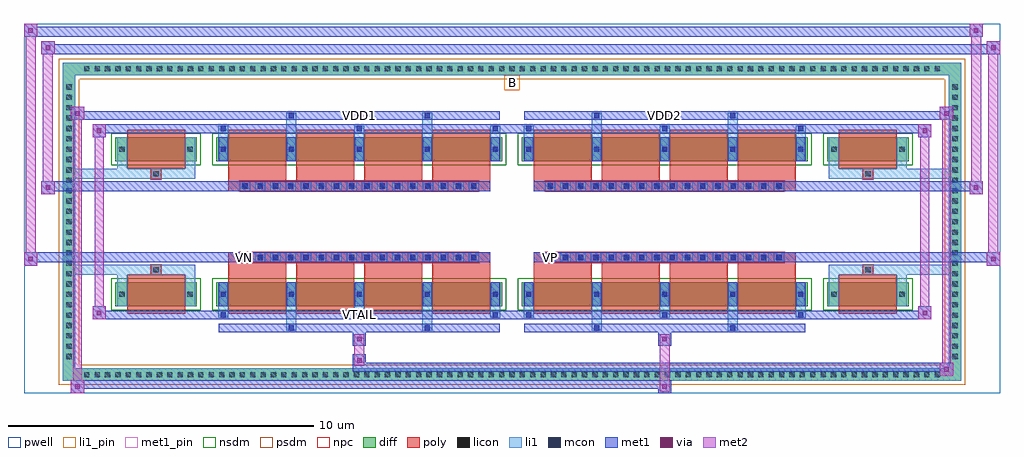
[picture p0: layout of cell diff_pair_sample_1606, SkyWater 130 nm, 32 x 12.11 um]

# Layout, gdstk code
import gdstk
lib = gdstk.Library(unit=1e-6, precision=5e-09)
def R(c, l, rs):  # rectangles x0, y0, x1, y1
    for r in rs: c.add(gdstk.rectangle(r[:2], r[2:], *l))
def A(c, l, x, y, w, h, nx, ny, dx, dy):  # array of equal rectangles
    R(c, l, [(x+i*dx, y+j*dy, x+i*dx+w, y+j*dy+h) for i in range(nx) for j in range(ny)])
def P(c, l, *ps):  # polygons
    for p in ps: c.add(gdstk.Polygon(p, *l))
pwell = (64, 44)
diff = (65, 20)
poly = (66, 20)
licon = (66, 44)
li1_pin = (67, 16)
li1 = (67, 20)
mcon = (67, 44)
met1_pin = (68, 16)
met1 = (68, 20)
via = (68, 44)
met2 = (69, 20)
nsdm = (93, 44)
psdm = (94, 20)
npc = (95, 20)

diff_pair_sample_1606 = lib.new_cell('diff_pair_sample_1606')
R(diff_pair_sample_1606, pwell, [(-16,-5.62,16,6.49), (-13.32,-3.81,-0.01,-0.805), (0.01,-3.81,13.32,-0.805), (-13.32,0.805,-0.01,3.81), (0.01,0.805,13.32,3.81)])
A(diff_pair_sample_1606, diff, -14.145, -5.22, 0.41, 0.41, 83, 2, 0.34, 10.03)
A(diff_pair_sample_1606, diff, -14.73, -4.625, 0.41, 0.41, 1, 27, 0, 0.34)
A(diff_pair_sample_1606, diff, 14.32, -4.625, 0.41, 0.41, 1, 27, 0, 0.34)
R(diff_pair_sample_1606, diff, [(-14.145,-5.22,14.145,-4.81), (-14.73,-4.625,-14.32,4.625), (14.32,-4.625,14.73,4.625), (-13.01,-2.765,-10.33,-1.985), (-9.69,-2.765,-0.32,-1.985), (0.32,-2.765,9.69,-1.985), (10.33,-2.765,13.01,-1.985), (-13.01,1.985,-10.33,2.765), (-9.69,1.985,-0.32,2.765), (0.32,1.985,9.69,2.765), (10.33,1.985,13.01,2.765), (-14.145,4.81,14.145,5.22)])
P(diff_pair_sample_1606, diff, [(14.73,5.22),(-14.73,5.22),(-14.73,-4.81),(-14.32,-4.81),(-14.32,4.81),(14.32,4.81),(14.32,-4.81),(-14.32,-4.81),(-14.73,-4.81),(-14.73,-5.22),(14.73,-5.22)])
A(diff_pair_sample_1606, poly, -9.3, -3.015, 1.9, 1.28, 4, 2, 2.23, 4.75)
A(diff_pair_sample_1606, poly, 0.71, -3.015, 1.9, 1.28, 4, 2, 2.23, 4.75)
A(diff_pair_sample_1606, poly, -9.3, -1.735, 1.9, 0.4, 4, 2, 2.23, 3.07)
A(diff_pair_sample_1606, poly, 0.71, -1.735, 1.9, 0.4, 4, 2, 2.23, 3.07)
A(diff_pair_sample_1606, poly, -8.92, -1.335, 0.33, 0.33, 16, 2, 0.5, 2.34)
A(diff_pair_sample_1606, poly, 1.09, -1.335, 0.33, 0.33, 16, 2, 0.5, 2.34)
R(diff_pair_sample_1606, poly, [(-12.62,-3.015,-10.72,-1.735), (10.72,-3.015,12.62,-1.735), (-11.835,-1.735,-11.505,-1.405), (-11.835,-1.735,-11.505,-1.405), (11.505,-1.735,11.835,-1.405), (11.505,-1.735,11.835,-1.405), (-9.3,-1.335,-0.71,-1.005), (0.71,-1.335,9.3,-1.005), (-9.3,1.005,-0.71,1.335), (0.71,1.005,9.3,1.335), (-11.835,1.405,-11.505,1.735), (-11.835,1.405,-11.505,1.735), (11.505,1.405,11.835,1.735), (11.505,1.405,11.835,1.735), (-12.62,1.735,-10.72,3.015), (10.72,1.735,12.62,3.015)])
A(diff_pair_sample_1606, licon, -14.025, -5.1, 0.17, 0.17, 83, 2, 0.34, 10.03)
A(diff_pair_sample_1606, licon, -14.61, -4.505, 0.17, 0.17, 1, 27, 0, 0.34)
A(diff_pair_sample_1606, licon, 14.44, -4.505, 0.17, 0.17, 1, 27, 0, 0.34)
A(diff_pair_sample_1606, licon, -9.55, -2.46, 0.17, 0.17, 5, 2, 2.23, 4.75)
A(diff_pair_sample_1606, licon, 0.46, -2.46, 0.17, 0.17, 5, 2, 2.23, 4.75)
A(diff_pair_sample_1606, licon, -8.84, -1.255, 0.17, 0.17, 16, 2, 0.5, 2.34)
A(diff_pair_sample_1606, licon, 1.17, -1.255, 0.17, 0.17, 16, 2, 0.5, 2.34)
R(diff_pair_sample_1606, licon, [(-12.87,-2.46,-12.7,-2.29), (-10.64,-2.46,-10.47,-2.29), (10.47,-2.46,10.64,-2.29), (12.7,-2.46,12.87,-2.29), (-11.755,-1.655,-11.585,-1.485), (11.585,-1.655,11.755,-1.485), (-11.755,1.485,-11.585,1.655), (11.585,1.485,11.755,1.655), (-12.87,2.29,-12.7,2.46), (-10.64,2.29,-10.47,2.46), (10.47,2.29,10.64,2.46), (12.7,2.29,12.87,2.46)])
R(diff_pair_sample_1606, li1_pin, [(-0.25,4.31,0.25,4.81)])
A(diff_pair_sample_1606, li1, -14.105, -5.18, 0.33, 0.33, 83, 2, 0.34, 10.03)
A(diff_pair_sample_1606, li1, -14.69, -4.585, 0.33, 0.33, 1, 27, 0, 0.34)
A(diff_pair_sample_1606, li1, 14.36, -4.585, 0.33, 0.33, 1, 27, 0, 0.34)
A(diff_pair_sample_1606, li1, -9.63, -3.14, 0.33, 0.375, 3, 2, 4.46, 5.905)
A(diff_pair_sample_1606, li1, -9.55, -3.14, 0.17, 0.17, 3, 2, 4.46, 6.11)
A(diff_pair_sample_1606, li1, 0.38, -3.14, 0.33, 0.375, 3, 2, 4.46, 5.905)
A(diff_pair_sample_1606, li1, 0.46, -3.14, 0.17, 0.17, 3, 2, 4.46, 6.11)
A(diff_pair_sample_1606, li1, -9.63, -2.765, 0.33, 0.78, 5, 2, 2.23, 4.75)
A(diff_pair_sample_1606, li1, 0.38, -2.765, 0.33, 0.78, 5, 2, 2.23, 4.75)
A(diff_pair_sample_1606, li1, -9.63, -2.54, 0.33, 0.33, 5, 2, 2.23, 4.75)
A(diff_pair_sample_1606, li1, 0.38, -2.54, 0.33, 0.33, 5, 2, 2.23, 4.75)
A(diff_pair_sample_1606, li1, -8.92, -1.335, 0.33, 0.33, 16, 2, 0.5, 2.34)
A(diff_pair_sample_1606, li1, 1.09, -1.335, 0.33, 0.33, 16, 2, 0.5, 2.34)
R(diff_pair_sample_1606, li1, [(-14.73,-5.22,-14.32,-4.81), (-14.73,-5.22,-14.32,-4.81), (-14.32,-5.22,14.32,-4.81), (14.32,-5.22,14.73,-4.81), (14.32,-5.22,14.73,-4.81), (-14.73,-4.81,-14.32,4.81), (14.32,-4.81,14.73,4.81), (-7.4,-3.57,-7.07,-2.765), (-7.32,-3.57,-7.15,-3.4), (-2.94,-3.57,-2.61,-2.765), (-2.86,-3.57,-2.69,-3.4), (2.61,-3.57,2.94,-2.765), (2.69,-3.57,2.86,-3.4), (7.07,-3.57,7.4,-2.765), (7.15,-3.57,7.32,-3.4), (-12.95,-2.765,-12.62,-1.985), (-10.72,-2.765,-10.39,-1.985), (10.39,-2.765,10.72,-1.985), (12.62,-2.765,12.95,-1.985), (-12.95,-2.54,-12.62,-2.21), (-10.72,-2.54,-10.39,-2.21), (10.39,-2.54,10.72,-2.21), (12.62,-2.54,12.95,-2.21), (-9.55,-2.46,-9.38,-2.29), (-9.55,-2.46,-9.38,-2.29), (-7.32,-2.46,-7.15,-2.29), (-7.32,-2.46,-7.15,-2.29), (-5.09,-2.46,-4.92,-2.29), (-5.09,-2.46,-4.92,-2.29), (-2.86,-2.46,-2.69,-2.29), (-2.86,-2.46,-2.69,-2.29), (-0.63,-2.46,-0.46,-2.29), (-0.63,-2.46,-0.46,-2.29), (0.46,-2.46,0.63,-2.29), (0.46,-2.46,0.63,-2.29), (2.69,-2.46,2.86,-2.29), (2.69,-2.46,2.86,-2.29), (4.92,-2.46,5.09,-2.29), (4.92,-2.46,5.09,-2.29), (7.15,-2.46,7.32,-2.29), (7.15,-2.46,7.32,-2.29), (9.38,-2.46,9.55,-2.29), (9.38,-2.46,9.55,-2.29), (-12.95,-1.985,-12.62,-1.405), (-10.72,-1.985,-10.39,-1.405), (10.39,-1.985,10.72,-1.405), (12.62,-1.985,12.95,-1.405), (-14.73,-1.735,-11.835,-1.405), (-12.95,-1.735,-11.835,-1.405), (-11.835,-1.735,-11.505,-1.405), (-11.505,-1.735,-10.39,-1.405), (10.39,-1.735,11.505,-1.405), (11.505,-1.735,11.835,-1.405), (11.505,-1.735,14.73,-1.405), (11.835,-1.735,12.95,-1.405), (-14.73,1.405,-11.835,1.735), (-12.95,1.405,-11.835,1.735), (-12.95,1.405,-12.62,1.985), (-11.835,1.405,-11.505,1.735), (-11.505,1.405,-10.39,1.735), (-10.72,1.405,-10.39,1.985), (10.39,1.405,11.505,1.735), (10.39,1.405,10.72,1.985), (11.505,1.405,11.835,1.735), (11.505,1.405,14.73,1.735), (11.835,1.405,12.95,1.735), (12.62,1.405,12.95,1.985), (-12.95,1.985,-12.62,2.765), (-10.72,1.985,-10.39,2.765), (10.39,1.985,10.72,2.765), (12.62,1.985,12.95,2.765), (-12.95,2.21,-12.62,2.54), (-10.72,2.21,-10.39,2.54), (10.39,2.21,10.72,2.54), (12.62,2.21,12.95,2.54), (-9.55,2.29,-9.38,2.46), (-9.55,2.29,-9.38,2.46), (-7.32,2.29,-7.15,2.46), (-7.32,2.29,-7.15,2.46), (-5.09,2.29,-4.92,2.46), (-5.09,2.29,-4.92,2.46), (-2.86,2.29,-2.69,2.46), (-2.86,2.29,-2.69,2.46), (-0.63,2.29,-0.46,2.46), (-0.63,2.29,-0.46,2.46), (0.46,2.29,0.63,2.46), (0.46,2.29,0.63,2.46), (2.69,2.29,2.86,2.46), (2.69,2.29,2.86,2.46), (4.92,2.29,5.09,2.46), (4.92,2.29,5.09,2.46), (7.15,2.29,7.32,2.46), (7.15,2.29,7.32,2.46), (9.38,2.29,9.55,2.46), (9.38,2.29,9.55,2.46), (-7.4,2.765,-7.07,3.57), (-2.94,2.765,-2.61,3.57), (2.61,2.765,2.94,3.57), (7.07,2.765,7.4,3.57), (-7.32,3.4,-7.15,3.57), (-2.86,3.4,-2.69,3.57), (2.69,3.4,2.86,3.57), (7.15,3.4,7.32,3.57), (-14.73,4.81,-14.32,5.22), (-14.73,4.81,-14.32,5.22), (-14.32,4.81,14.32,5.22), (14.32,4.81,14.73,5.22), (14.32,4.81,14.73,5.22)])
A(diff_pair_sample_1606, mcon, -9.55, -3.14, 0.17, 0.17, 3, 2, 4.46, 6.11)
A(diff_pair_sample_1606, mcon, 0.46, -3.14, 0.17, 0.17, 3, 2, 4.46, 6.11)
A(diff_pair_sample_1606, mcon, -9.55, -2.46, 0.17, 0.17, 5, 2, 2.23, 4.75)
A(diff_pair_sample_1606, mcon, 0.46, -2.46, 0.17, 0.17, 5, 2, 2.23, 4.75)
A(diff_pair_sample_1606, mcon, -8.84, -1.255, 0.17, 0.17, 16, 2, 0.5, 2.34)
A(diff_pair_sample_1606, mcon, 1.17, -1.255, 0.17, 0.17, 16, 2, 0.5, 2.34)
R(diff_pair_sample_1606, mcon, [(-7.32,-3.57,-7.15,-3.4), (-2.86,-3.57,-2.69,-3.4), (2.69,-3.57,2.86,-3.4), (7.15,-3.57,7.32,-3.4), (-7.32,3.4,-7.15,3.57), (-2.86,3.4,-2.69,3.57), (2.69,3.4,2.86,3.57), (7.15,3.4,7.32,3.57)])
R(diff_pair_sample_1606, met1_pin, [(-5.14,-3.18,-4.87,-2.91), (-8.89,-1.295,-8.62,-1.025), (1.12,-1.295,1.39,-1.025), (-5.14,3.36,-4.87,3.63), (4.87,3.36,5.14,3.63)])
A(diff_pair_sample_1606, met1, -9.61, -3.2, 0.29, 0.29, 3, 2, 4.46, 6.11)
A(diff_pair_sample_1606, met1, 0.4, -3.2, 0.29, 0.29, 3, 2, 4.46, 6.11)
A(diff_pair_sample_1606, met1, -9.61, -2.765, 0.29, 0.78, 5, 2, 2.23, 4.75)
A(diff_pair_sample_1606, met1, 0.4, -2.765, 0.29, 0.78, 5, 2, 2.23, 4.75)
A(diff_pair_sample_1606, met1, -9.61, -2.52, 0.29, 0.29, 5, 2, 2.23, 4.75)
A(diff_pair_sample_1606, met1, 0.4, -2.52, 0.29, 0.29, 5, 2, 2.23, 4.75)
A(diff_pair_sample_1606, met1, -8.9, -1.315, 0.29, 0.29, 16, 2, 0.5, 2.34)
A(diff_pair_sample_1606, met1, 1.11, -1.315, 0.29, 0.29, 16, 2, 0.5, 2.34)
R(diff_pair_sample_1606, met1, [(-14.46,-5.62,-14.03,-5.19), (4.79,-5.62,5.22,-5.19), (-14.46,-5.48,5.22,-5.19), (14.03,-5.05,14.46,-4.62), (-5.22,-4.91,14.46,-4.62), (-5.22,-4.77,-4.79,-4.34), (-5.22,-4.06,-4.79,-3.63), (4.79,-4.06,5.22,-3.63), (-9.61,-3.63,-0.4,-3.34), (-7.38,-3.63,-7.09,-3.34), (-2.92,-3.63,-2.63,-3.34), (0.4,-3.63,9.61,-3.34), (2.63,-3.63,2.92,-3.34), (7.09,-3.63,7.38,-3.34), (-13.75,-3.2,-13.32,-2.77), (-13.75,-3.2,-9.61,-2.91), (-9.61,-3.2,-0.4,-2.91), (-0.4,-3.2,0.4,-2.91), (0.4,-3.2,9.61,-2.91), (9.61,-3.2,13.75,-2.91), (13.32,-3.2,13.75,-2.77), (-16,-1.435,-15.57,-1.005), (15.57,-1.435,16,-1.005), (-16,-1.335,-0.71,-1.005), (-9.3,-1.335,-0.71,-1.005), (0.71,-1.335,9.3,-1.005), (0.71,-1.335,16,-1.005), (-15.43,0.905,-15,1.335), (15,0.905,15.43,1.335), (-15.43,1.005,-9.3,1.335), (-9.3,1.005,-0.71,1.335), (0.71,1.005,9.3,1.335), (9.3,1.005,15.43,1.335), (-13.75,2.77,-13.32,3.2), (13.32,2.77,13.75,3.2), (-13.75,2.91,-9.61,3.2), (-9.61,2.91,-0.4,3.2), (-0.4,2.91,0.4,3.2), (0.4,2.91,9.61,3.2), (9.61,2.91,13.75,3.2), (-14.46,3.34,-14.03,3.77), (-14.46,3.34,-9.61,3.63), (-9.61,3.34,-0.4,3.63), (-7.38,3.34,-7.09,3.63), (-2.92,3.34,-2.63,3.63), (0.4,3.34,9.61,3.63), (2.63,3.34,2.92,3.63), (7.09,3.34,7.38,3.63), (9.61,3.34,14.46,3.63), (14.03,3.34,14.46,3.77), (-15.43,5.49,-15,5.92), (-15.43,5.49,-13.32,5.82), (-13.32,5.49,13.32,5.82), (13.32,5.49,16,5.82), (15.57,5.49,16,5.92), (-16,6.06,-15.57,6.49), (-16,6.06,-13.32,6.39), (-13.32,6.06,13.32,6.39), (13.32,6.06,15.43,6.39), (15,6.06,15.43,6.49)])
R(diff_pair_sample_1606, via, [(-14.32,-5.48,-14.17,-5.33), (4.93,-5.48,5.08,-5.33), (14.17,-4.91,14.32,-4.76), (-5.08,-4.63,-4.93,-4.48), (-5.08,-3.92,-4.93,-3.77), (4.93,-3.92,5.08,-3.77), (-13.61,-3.06,-13.46,-2.91), (13.46,-3.06,13.61,-2.91), (-15.86,-1.295,-15.71,-1.145), (15.71,-1.295,15.86,-1.145), (-15.29,1.045,-15.14,1.195), (15.14,1.045,15.29,1.195), (-13.61,2.91,-13.46,3.06), (13.46,2.91,13.61,3.06), (-14.32,3.48,-14.17,3.63), (14.17,3.48,14.32,3.63), (-15.29,5.63,-15.14,5.78), (15.71,5.63,15.86,5.78), (-15.86,6.2,-15.71,6.35), (15.14,6.2,15.29,6.35)])
R(diff_pair_sample_1606, met2, [(-14.46,-5.62,-14.03,-5.19), (-14.39,-5.62,-14.1,3.77), (-14.1,-5.62,-14.03,-5.19), (-14.41,-5.57,-14.08,-5.24), (4.84,-5.57,5.17,-5.24), (4.84,-5.24,5.17,-4.01), (14.03,-5.05,14.46,-4.62), (14.1,-5.05,14.39,3.77), (14.39,-5.05,14.46,-4.62), (14.08,-5,14.41,-4.67), (-5.17,-4.72,-4.84,-4.39), (-5.17,-4.39,-4.84,-4.01), (-5.17,-4.01,-4.84,-3.68), (4.84,-4.01,5.17,-3.68), (-13.75,-3.2,-13.32,-2.77), (-13.68,-3.2,-13.39,3.2), (-13.39,-3.2,-13.32,-2.77), (13.32,-3.2,13.75,-2.77), (13.39,-3.2,13.68,3.2), (13.68,-3.2,13.75,-2.77), (-13.7,-3.15,-13.37,-2.82), (13.37,-3.15,13.7,-2.82), (-16,-1.435,-15.57,-1.005), (-15.95,-1.435,-15.62,6.49), (-15.62,-1.435,-15.57,-1.005), (15.57,-1.435,16,-1.005), (15.62,-1.435,15.95,5.92), (15.95,-1.435,16,-1.005), (-15.95,-1.385,-15.62,-1.055), (15.62,-1.385,15.95,-1.055), (-15.43,0.905,-15,1.335), (-15.38,0.905,-15.05,5.92), (-15.05,0.905,-15,1.335), (15,0.905,15.43,1.335), (15.05,0.905,15.38,6.49), (15.38,0.905,15.43,1.335), (-15.38,0.955,-15.05,1.285), (15.05,0.955,15.38,1.285), (-13.75,2.77,-13.32,3.2), (-13.39,2.77,-13.32,3.2), (13.32,2.77,13.75,3.2), (13.68,2.77,13.75,3.2), (-13.7,2.82,-13.37,3.15), (13.37,2.82,13.7,3.15), (-14.46,3.34,-14.03,3.77), (-14.1,3.34,-14.03,3.77), (14.03,3.34,14.46,3.77), (14.39,3.34,14.46,3.77), (-14.41,3.39,-14.08,3.72), (14.08,3.39,14.41,3.72), (-15.43,5.49,-15,5.92), (-15.05,5.49,-15,5.92), (15.57,5.49,16,5.92), (15.95,5.49,16,5.92), (-15.38,5.54,-15.05,5.87), (15.62,5.54,15.95,5.87), (-16,6.06,-15.57,6.49), (-15.62,6.06,-15.57,6.49), (15,6.06,15.43,6.49), (15.38,6.06,15.43,6.49), (-15.95,6.11,-15.62,6.44), (15.05,6.11,15.38,6.44)])
R(diff_pair_sample_1606, nsdm, [(-13.14,-2.895,-10.2,-1.855), (-9.82,-2.895,-0.19,-1.855), (0.19,-2.895,9.82,-1.855), (10.2,-2.895,13.14,-1.855), (-13.14,1.855,-10.2,2.895), (-9.82,1.855,-0.19,2.895), (0.19,1.855,9.82,2.895), (10.2,1.855,13.14,2.895)])
P(diff_pair_sample_1606, psdm, [(14.86,5.35),(-14.86,5.35),(-14.86,-4.68),(-14.19,-4.68),(-14.19,4.68),(14.19,4.68),(14.19,-4.68),(-14.19,-4.68),(-14.86,-4.68),(-14.86,-5.35),(14.86,-5.35)])
A(diff_pair_sample_1606, npc, -8.94, -1.355, 0.37, 0.37, 16, 2, 0.5, 2.34)
A(diff_pair_sample_1606, npc, 1.07, -1.355, 0.37, 0.37, 16, 2, 0.5, 2.34)
R(diff_pair_sample_1606, npc, [(-11.855,-1.755,-11.485,-1.385), (11.485,-1.755,11.855,-1.385), (-8.94,-1.355,-8.07,-0.985), (-8.94,-1.355,-8.07,-0.985), (-8.44,-1.355,-7.57,-0.985), (-8.44,-1.355,-7.57,-0.985), (-7.94,-1.355,-7.07,-0.985), (-7.94,-1.355,-7.07,-0.985), (-7.44,-1.355,-6.57,-0.985), (-7.44,-1.355,-6.57,-0.985), (-6.94,-1.355,-6.07,-0.985), (-6.94,-1.355,-6.07,-0.985), (-6.44,-1.355,-5.57,-0.985), (-6.44,-1.355,-5.57,-0.985), (-5.94,-1.355,-5.07,-0.985), (-5.94,-1.355,-5.07,-0.985), (-5.44,-1.355,-4.57,-0.985), (-5.44,-1.355,-4.57,-0.985), (-4.94,-1.355,-4.07,-0.985), (-4.94,-1.355,-4.07,-0.985), (-4.44,-1.355,-3.57,-0.985), (-4.44,-1.355,-3.57,-0.985), (-3.94,-1.355,-3.07,-0.985), (-3.94,-1.355,-3.07,-0.985), (-3.44,-1.355,-2.57,-0.985), (-3.44,-1.355,-2.57,-0.985), (-2.94,-1.355,-2.07,-0.985), (-2.94,-1.355,-2.07,-0.985), (-2.44,-1.355,-1.57,-0.985), (-2.44,-1.355,-1.57,-0.985), (-1.94,-1.355,-1.07,-0.985), (-1.94,-1.355,-1.07,-0.985), (1.07,-1.355,1.94,-0.985), (1.07,-1.355,1.94,-0.985), (1.57,-1.355,2.44,-0.985), (1.57,-1.355,2.44,-0.985), (2.07,-1.355,2.94,-0.985), (2.07,-1.355,2.94,-0.985), (2.57,-1.355,3.44,-0.985), (2.57,-1.355,3.44,-0.985), (3.07,-1.355,3.94,-0.985), (3.07,-1.355,3.94,-0.985), (3.57,-1.355,4.44,-0.985), (3.57,-1.355,4.44,-0.985), (4.07,-1.355,4.94,-0.985), (4.07,-1.355,4.94,-0.985), (4.57,-1.355,5.44,-0.985), (4.57,-1.355,5.44,-0.985), (5.07,-1.355,5.94,-0.985), (5.07,-1.355,5.94,-0.985), (5.57,-1.355,6.44,-0.985), (5.57,-1.355,6.44,-0.985), (6.07,-1.355,6.94,-0.985), (6.07,-1.355,6.94,-0.985), (6.57,-1.355,7.44,-0.985), (6.57,-1.355,7.44,-0.985), (7.07,-1.355,7.94,-0.985), (7.07,-1.355,7.94,-0.985), (7.57,-1.355,8.44,-0.985), (7.57,-1.355,8.44,-0.985), (8.07,-1.355,8.94,-0.985), (8.07,-1.355,8.94,-0.985), (-8.94,0.985,-8.07,1.355), (-8.94,0.985,-8.07,1.355), (-8.44,0.985,-7.57,1.355), (-8.44,0.985,-7.57,1.355), (-7.94,0.985,-7.07,1.355), (-7.94,0.985,-7.07,1.355), (-7.44,0.985,-6.57,1.355), (-7.44,0.985,-6.57,1.355), (-6.94,0.985,-6.07,1.355), (-6.94,0.985,-6.07,1.355), (-6.44,0.985,-5.57,1.355), (-6.44,0.985,-5.57,1.355), (-5.94,0.985,-5.07,1.355), (-5.94,0.985,-5.07,1.355), (-5.44,0.985,-4.57,1.355), (-5.44,0.985,-4.57,1.355), (-4.94,0.985,-4.07,1.355), (-4.94,0.985,-4.07,1.355), (-4.44,0.985,-3.57,1.355), (-4.44,0.985,-3.57,1.355), (-3.94,0.985,-3.07,1.355), (-3.94,0.985,-3.07,1.355), (-3.44,0.985,-2.57,1.355), (-3.44,0.985,-2.57,1.355), (-2.94,0.985,-2.07,1.355), (-2.94,0.985,-2.07,1.355), (-2.44,0.985,-1.57,1.355), (-2.44,0.985,-1.57,1.355), (-1.94,0.985,-1.07,1.355), (-1.94,0.985,-1.07,1.355), (1.07,0.985,1.94,1.355), (1.07,0.985,1.94,1.355), (1.57,0.985,2.44,1.355), (1.57,0.985,2.44,1.355), (2.07,0.985,2.94,1.355), (2.07,0.985,2.94,1.355), (2.57,0.985,3.44,1.355), (2.57,0.985,3.44,1.355), (3.07,0.985,3.94,1.355), (3.07,0.985,3.94,1.355), (3.57,0.985,4.44,1.355), (3.57,0.985,4.44,1.355), (4.07,0.985,4.94,1.355), (4.07,0.985,4.94,1.355), (4.57,0.985,5.44,1.355), (4.57,0.985,5.44,1.355), (5.07,0.985,5.94,1.355), (5.07,0.985,5.94,1.355), (5.57,0.985,6.44,1.355), (5.57,0.985,6.44,1.355), (6.07,0.985,6.94,1.355), (6.07,0.985,6.94,1.355), (6.57,0.985,7.44,1.355), (6.57,0.985,7.44,1.355), (7.07,0.985,7.94,1.355), (7.07,0.985,7.94,1.355), (7.57,0.985,8.44,1.355), (7.57,0.985,8.44,1.355), (8.07,0.985,8.94,1.355), (8.07,0.985,8.94,1.355), (-11.855,1.385,-11.485,1.755), (11.485,1.385,11.855,1.755)])
diff_pair_sample_1606.add(gdstk.Label('VTAIL', (-5.005,-3.045), layer=68, texttype=5))
diff_pair_sample_1606.add(gdstk.Label('VN', (-8.755,-1.16), layer=68, texttype=5))
diff_pair_sample_1606.add(gdstk.Label('VP', (1.255,-1.16), layer=68, texttype=5))
diff_pair_sample_1606.add(gdstk.Label('B', (0,4.56), layer=67, texttype=5))
diff_pair_sample_1606.add(gdstk.Label('VDD2', (5.005,3.495), layer=68, texttype=5))
diff_pair_sample_1606.add(gdstk.Label('VDD1', (-5.005,3.495), layer=68, texttype=5))

lib.write_gds('diff_pair_sample_1606.gds')
